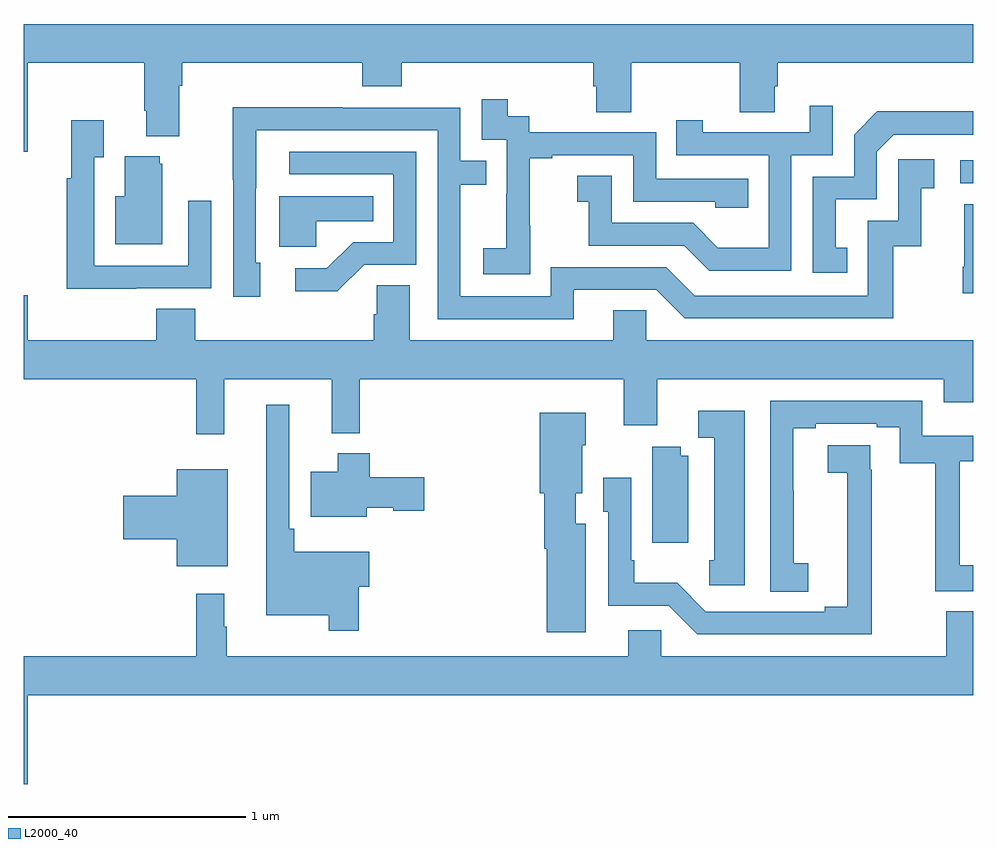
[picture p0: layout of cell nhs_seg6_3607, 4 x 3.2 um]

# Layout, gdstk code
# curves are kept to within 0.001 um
import gdstk
lib = gdstk.Library(unit=1e-6, precision=1e-09)
def R(c, l, rs):  # rectangles x0, y0, x1, y1
    for r in rs: c.add(gdstk.rectangle(r[:2], r[2:], *l))
def P(c, l, *ps):  # polygons
    for p in ps: c.add(gdstk.Polygon(p, *l))
L2000_40 = (2000, 40)

nhs_seg6_3607 = lib.new_cell('nhs_seg6_3607')
R(nhs_seg6_3607, L2000_40, [(324.945,988.122,325,988.218)])
P(nhs_seg6_3607, L2000_40, [(321.016,988.628),(321.508,988.628),(321.508,988.426),(321.515,988.426),(321.515,988.319),(321.655,988.319),(321.655,988.532),(321.668,988.532),(321.668,988.628),(322.427,988.628),(322.427,988.529),(322.592,988.529),(322.592,988.628),(323.399,988.628),(323.399,988.53),(323.411,988.53),(323.411,988.42),(323.559,988.42),(323.559,988.628),(324.016,988.628),(324.016,988.42),(324.163,988.42),(324.163,988.53),(324.176,988.53),(324.176,988.628),(325,988.628),(325,988.792),(321,988.792),(321,988.254),(321.016,988.254)],
  [(323.133,987.943),(323.132,987.943),(323.132,988.227),(323.227,988.227),(323.227,988.239),(323.568,988.239),(323.568,988.044),(323.913,988.044),(323.913,988.017),(324.053,988.017),(324.053,988.14),(323.664,988.14),(323.664,988.335),(323.13,988.335),(323.13,988.404),(323.038,988.404),(323.038,988.474),(322.929,988.474),(322.929,988.305),(323.034,988.305),(323.034,988.076),(323.033,988.076),(323.033,987.847),(322.935,987.847),(322.935,987.737),(323.133,987.737)],
  [(324.234,988.239),(324.408,988.239),(324.408,988.447),(324.311,988.447),(324.311,988.335),(323.86,988.335),(323.86,988.387),(323.749,988.387),(323.749,988.239),(324.138,988.239),(324.138,987.85),(323.924,987.85),(323.82,987.954),(323.478,987.954),(323.478,988.153),(323.331,988.153),(323.331,988.043),(323.38,988.043),(323.38,987.858),(323.783,987.858),(323.888,987.753),(324.234,987.753)],
  [(323.317,987.672),(323.664,987.672),(323.784,987.552),(324.664,987.552),(324.664,987.855),(324.782,987.855),(324.782,988.101),(324.835,988.101),(324.835,988.222),(324.684,988.222),(324.684,987.963),(324.555,987.963),(324.555,987.648),(323.826,987.648),(323.706,987.768),(323.22,987.768),(323.22,987.645),(322.839,987.645),(322.839,988.114),(322.949,988.114),(322.949,988.215),(322.839,988.215),(322.839,988.44),(322.343,988.44),(322.343,988.442),(321.88,988.442),(321.88,988.135),(321.882,988.135),(321.882,987.642),(321.997,987.642),(321.997,987.786),(321.978,987.786),(321.979,988.344),(322.743,988.344),(322.743,987.549),(323.317,987.549)],
  [(324.47,987.849),(324.421,987.849),(324.421,988.053),(324.594,988.053),(324.594,988.254),(324.666,988.326),(325,988.326),(325,988.424),(324.596,988.424),(324.498,988.326),(324.498,988.149),(324.324,988.149),(324.324,987.744),(324.47,987.744)],
  [(321.473,987.678),(321.789,987.678),(321.789,988.048),(321.693,988.048),(321.693,987.774),(321.297,987.774),(321.297,988.231),(321.337,988.231),(321.337,988.387),(321.2,988.387),(321.2,988.142),(321.181,988.142),(321.181,987.677),(321.473,987.677)],
  [(322.434,987.777),(322.653,987.777),(322.653,988.254),(322.119,988.254),(322.119,988.158),(322.557,988.158),(322.557,987.873),(322.388,987.873),(322.277,987.762),(322.143,987.762),(322.143,987.665),(322.321,987.665)],
  [(321.583,988.203),(321.572,988.203),(321.572,988.234),(321.425,988.234),(321.425,988.066),(321.386,988.066),(321.386,987.863),(321.583,987.863)],
  [(322.233,987.962),(322.472,987.962),(322.472,988.066),(322.076,988.066),(322.076,987.854),(322.233,987.854)],
  [(325,988.033),(324.962,988.033),(324.962,987.769),(324.955,987.769),(324.955,987.657),(325,987.657)],
  [(323.483,987.46),(322.627,987.46),(322.627,987.692),(322.488,987.692),(322.488,987.569),(322.475,987.569),(322.475,987.46),(321.722,987.46),(321.722,987.593),(321.557,987.593),(321.557,987.46),(321.016,987.46),(321.016,987.649),(321,987.649),(321,987.296),(321.727,987.296),(321.727,987.063),(321.845,987.063),(321.845,987.296),(322.298,987.296),(322.298,987.068),(322.415,987.068),(322.415,987.296),(323.528,987.296),(323.528,987.102),(323.668,987.102),(323.668,987.296),(324.875,987.296),(324.875,987.198),(325,987.198),(325,987.46),(323.622,987.46),(323.622,987.587),(323.483,987.587)],
  [(324.304,986.521),(324.243,986.521),(324.243,986.825),(324.241,986.825),(324.241,987.088),(324.337,987.088),(324.337,987.108),(324.593,987.108),(324.593,987.094),(324.69,987.094),(324.69,986.941),(324.841,986.941),(324.841,986.403),(325,986.403),(325,986.512),(324.944,986.512),(324.944,986.949),(325,986.949),(325,987.058),(324.786,987.058),(324.786,987.204),(324.144,987.204),(324.144,986.401),(324.304,986.401)],
  [(322.412,986.422),(322.456,986.422),(322.456,986.569),(322.139,986.569),(322.139,986.665),(322.119,986.665),(322.119,987.187),(322.022,987.187),(322.022,986.3),(322.284,986.3),(322.284,986.235),(322.412,986.235)],
  [(324.037,987.163),(323.841,987.163),(323.841,987.048),(323.909,987.048),(323.909,986.532),(323.887,986.532),(323.887,986.427),(324.037,986.427)],
  [(323.368,986.686),(323.326,986.686),(323.326,986.814),(323.352,986.814),(323.352,987.018),(323.368,987.018),(323.368,987.154),(323.174,987.154),(323.174,986.814),(323.192,986.814),(323.192,986.582),(323.204,986.582),(323.204,986.229),(323.368,986.229)],
  [(324.572,986.915),(324.566,986.915),(324.566,987.017),(324.387,987.017),(324.387,986.902),(324.469,986.902),(324.47,986.336),(324.374,986.336),(324.374,986.316),(323.874,986.316),(323.753,986.437),(323.572,986.437),(323.572,986.533),(323.559,986.533),(323.559,986.881),(323.442,986.881),(323.442,986.736),(323.463,986.736),(323.463,986.34),(323.718,986.34),(323.838,986.22),(324.572,986.22)],
  [(323.8,986.974),(323.768,986.974),(323.768,987.011),(323.648,987.011),(323.648,986.607),(323.8,986.607)],
  [(322.444,986.753),(322.557,986.753),(322.557,986.741),(322.687,986.741),(322.687,986.883),(322.457,986.883),(322.457,986.983),(322.322,986.983),(322.322,986.905),(322.208,986.905),(322.208,986.717),(322.444,986.717)],
  [(321.859,986.917),(321.644,986.917),(321.644,986.804),(321.42,986.804),(321.42,986.621),(321.644,986.621),(321.644,986.507),(321.859,986.507)],
  [(321.016,985.964),(325,985.964),(325,986.318),(324.886,986.318),(324.886,986.128),(323.685,986.128),(323.685,986.238),(323.546,986.238),(323.546,986.128),(321.856,986.128),(321.856,986.252),(321.844,986.252),(321.844,986.392),(321.727,986.392),(321.727,986.128),(321,986.128),(321,985.59),(321.016,985.59)])

lib.write_gds('nhs_seg6_3607.gds')
